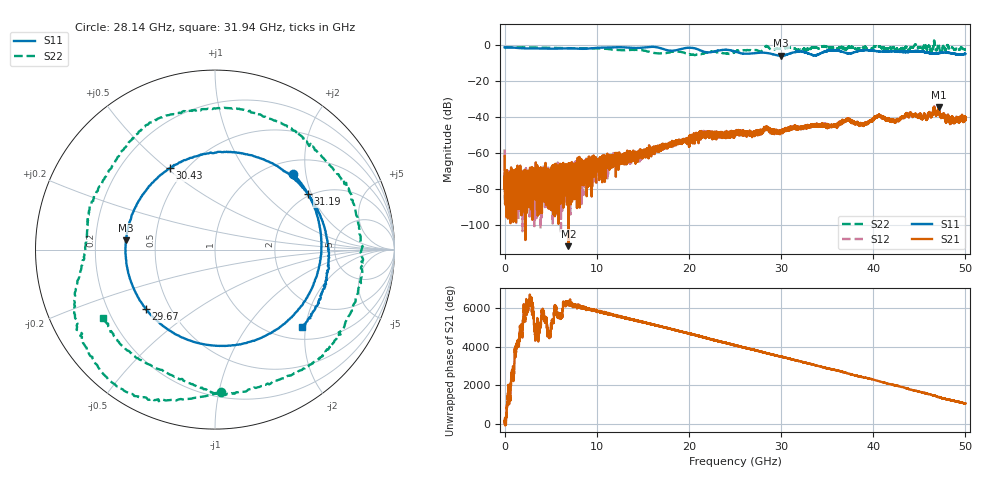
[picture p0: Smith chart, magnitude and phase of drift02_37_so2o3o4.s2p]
!Created with skrf (http://scikit-rf.org).
# Hz S RI R 50.0
!freq ReS11 ImS11 ReS21 ImS21 ReS12 ImS12 ReS22 ImS22
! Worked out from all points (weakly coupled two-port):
!   10001 points, 300 kHz to 50 GHz, reference 50 ohm
!   highest |S21| = -34.41 dB at 47.11 GHz (marker M1); lowest = -111.8 dB at 6.93 GHz (marker M2)
!   lowest |S11| = -6.1 dB at 30.01 GHz (marker M3), VSWR 2.98, Z = 16.8 + j2.29 ohm
!   |S11| at or under -10 dB: nowhere
!   |S22| runs from -5.7 to 2.5 dB; largest |S21 - S12| = 0.0033
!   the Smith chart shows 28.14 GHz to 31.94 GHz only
!   S11 on the Smith chart (normalised r, x): 28.14 GHz: 1.26, +1.70; 29.67 GHz: 0.37, -0.33; 30.43 GHz: 0.41, +0.51; 31.19 GHz: 1.94, +1.89; 31.94 GHz: 1.28, -1.91
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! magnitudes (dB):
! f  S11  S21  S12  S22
! 300 kHz  -1.3  -61.8  -58.0  -2.1
! 260.3 MHz  -1.4  -91.4  -74.6  -1.4
! 905.3 MHz  -1.5  -80.8  -76.6  -1.5
! 6.93 GHz  -1.9  -111.8  -67.0  -1.8
! 8.335 GHz  -2.2  -77.3  -69.6  -1.9
! 16.67 GHz  -1.5  -57.2  -57.3  -4.7
! 21.54 GHz  -3.6  -49.3  -49.3  -4.6
! 25 GHz  -3.7  -49.3  -48.3  -3.9
! 28.14 GHz  -4.3  -46.9  -47.7  -2.0
! 29.67 GHz  -5.9  -48.0  -48.2  -2.1
! 30.01 GHz  -6.1  -48.8  -48.5  -2.0
! 30.43 GHz  -5.7  -47.0  -47.4  -1.8
! 31.19 GHz  -4.4  -45.8  -46.5  -1.7
! 31.94 GHz  -3.8  -45.8  -45.9  -2.7
! 33.34 GHz  -5.5  -44.5  -44.5  -1.5
! 37.26 GHz  -4.6  -41.6  -41.4  -1.4
! 38.94 GHz  -3.1  -44.3  -44.8  -1.4
! 40.64 GHz  -3.7  -39.2  -39.0  -0.9
! 41.67 GHz  -3.7  -41.7  -41.0  -1.9
! 47.11 GHz  -4.5  -34.4  -35.8  0.3
! 48.09 GHz  -4.4  -40.2  -39.8  -0.2
! 50 GHz  -4.9  -41.7  -41.1  -2.7
